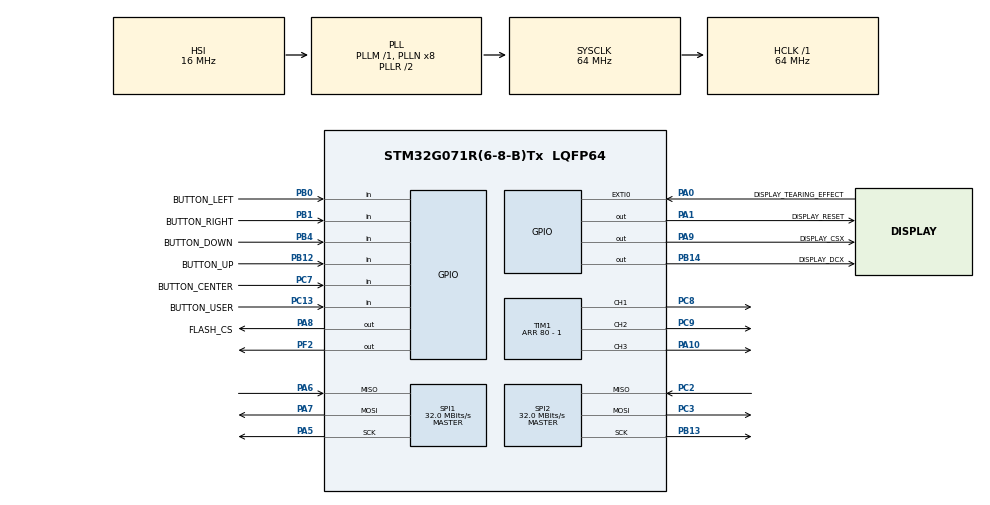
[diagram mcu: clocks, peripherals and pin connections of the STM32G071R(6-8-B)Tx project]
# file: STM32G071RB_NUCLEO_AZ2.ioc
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CRC.DefaultInitValueUse=DEFAULT_INIT_VALUE_ENABLE
CRC.DefaultPolynomialUse=DEFAULT_POLYNOMIAL_ENABLE
CRC.InputDataFormat=CRC_INPUTDATA_FORMAT_BYTES
CRC.InputDataInversionMode=CRC_INPUTDATA_INVERSION_NONE
CRC.OutputDataInversionMode=CRC_OUTPUTDATA_INVERSION_DISABLE
Dma.Request0=SPI1_TX
Dma.Request1=SPI2_RX
Dma.Request2=SPI2_TX
Dma.Request3=TIM1_CH3
Dma.Request4=TIM1_CH1
Dma.Request5=TIM1_CH2
Dma.SPI1_TX.0.Direction=DMA_MEMORY_TO_PERIPH
Dma.SPI1_TX.0.EventEnable=DISABLE
Dma.SPI1_TX.0.Instance=DMA1_Channel1
Dma.SPI1_TX.0.MemDataAlignment=DMA_MDATAALIGN_HALFWORD
Dma.SPI1_TX.0.MemInc=DMA_MINC_ENABLE
Dma.SPI1_TX.0.Mode=DMA_NORMAL
Dma.SPI1_TX.0.PeriphDataAlignment=DMA_PDATAALIGN_HALFWORD
Dma.SPI1_TX.0.PeriphInc=DMA_PINC_DISABLE
Dma.SPI1_TX.0.Polarity=HAL_DMAMUX_REQ_GEN_RISING
Dma.SPI1_TX.0.Priority=DMA_PRIORITY_LOW
Dma.SPI1_TX.0.RequestNumber=1
Dma.SPI1_TX.0.SignalID=NONE
Dma.SPI1_TX.0.SyncEnable=DISABLE
Dma.SPI1_TX.0.SyncPolarity=HAL_DMAMUX_SYNC_NO_EVENT
Dma.SPI1_TX.0.SyncRequestNumber=1
Dma.SPI1_TX.0.SyncSignalID=NONE
Dma.SPI2_RX.1.Direction=DMA_PERIPH_TO_MEMORY
Dma.SPI2_RX.1.EventEnable=DISABLE
Dma.SPI2_RX.1.Instance=DMA1_Channel2
Dma.SPI2_RX.1.MemDataAlignment=DMA_MDATAALIGN_BYTE
Dma.SPI2_RX.1.MemInc=DMA_MINC_ENABLE
Dma.SPI2_RX.1.Mode=DMA_NORMAL
Dma.SPI2_RX.1.PeriphDataAlignment=DMA_PDATAALIGN_BYTE
Dma.SPI2_RX.1.PeriphInc=DMA_PINC_DISABLE
Dma.SPI2_RX.1.Polarity=HAL_DMAMUX_REQ_GEN_RISING
Dma.SPI2_RX.1.Priority=DMA_PRIORITY_LOW
Dma.SPI2_RX.1.RequestNumber=1
Dma.SPI2_RX.1.SignalID=NONE
Dma.SPI2_RX.1.SyncEnable=DISABLE
Dma.SPI2_RX.1.SyncPolarity=HAL_DMAMUX_SYNC_NO_EVENT
Dma.SPI2_RX.1.SyncRequestNumber=1
Dma.SPI2_RX.1.SyncSignalID=NONE
Dma.SPI2_TX.2.Direction=DMA_MEMORY_TO_PERIPH
Dma.SPI2_TX.2.EventEnable=DISABLE
Dma.SPI2_TX.2.Instance=DMA1_Channel3
Dma.SPI2_TX.2.MemDataAlignment=DMA_MDATAALIGN_BYTE
Dma.SPI2_TX.2.MemInc=DMA_MINC_ENABLE
Dma.SPI2_TX.2.Mode=DMA_NORMAL
Dma.SPI2_TX.2.PeriphDataAlignment=DMA_PDATAALIGN_BYTE
Dma.SPI2_TX.2.PeriphInc=DMA_PINC_DISABLE
Dma.SPI2_TX.2.Polarity=HAL_DMAMUX_REQ_GEN_RISING
Dma.SPI2_TX.2.Priority=DMA_PRIORITY_LOW
Dma.SPI2_TX.2.RequestNumber=1
Dma.SPI2_TX.2.SignalID=NONE
Dma.SPI2_TX.2.SyncEnable=DISABLE
Dma.SPI2_TX.2.SyncPolarity=HAL_DMAMUX_SYNC_NO_EVENT
Dma.SPI2_TX.2.SyncRequestNumber=1
Dma.SPI2_TX.2.SyncSignalID=NONE
Dma.TIM1_CH1.4.Direction=DMA_MEMORY_TO_PERIPH
Dma.TIM1_CH1.4.EventEnable=DISABLE
Dma.TIM1_CH1.4.Instance=DMA1_Channel5
Dma.TIM1_CH1.4.MemDataAlignment=DMA_MDATAALIGN_HALFWORD
Dma.TIM1_CH1.4.MemInc=DMA_MINC_ENABLE
Dma.TIM1_CH1.4.Mode=DMA_NORMAL
Dma.TIM1_CH1.4.PeriphDataAlignment=DMA_PDATAALIGN_HALFWORD
Dma.TIM1_CH1.4.PeriphInc=DMA_PINC_DISABLE
Dma.TIM1_CH1.4.Polarity=HAL_DMAMUX_REQ_GEN_RISING
Dma.TIM1_CH1.4.Priority=DMA_PRIORITY_LOW
Dma.TIM1_CH1.4.RequestNumber=1
Dma.TIM1_CH1.4.SignalID=NONE
Dma.TIM1_CH1.4.SyncEnable=DISABLE
Dma.TIM1_CH1.4.SyncPolarity=HAL_DMAMUX_SYNC_NO_EVENT
Dma.TIM1_CH1.4.SyncRequestNumber=1
Dma.TIM1_CH1.4.SyncSignalID=NONE
Dma.TIM1_CH2.5.Direction=DMA_MEMORY_TO_PERIPH
Dma.TIM1_CH2.5.EventEnable=DISABLE
Dma.TIM1_CH2.5.Instance=DMA1_Channel6
Dma.TIM1_CH2.5.MemDataAlignment=DMA_MDATAALIGN_HALFWORD
Dma.TIM1_CH2.5.MemInc=DMA_MINC_ENABLE
Dma.TIM1_CH2.5.Mode=DMA_NORMAL
Dma.TIM1_CH2.5.PeriphDataAlignment=DMA_PDATAALIGN_HALFWORD
Dma.TIM1_CH2.5.PeriphInc=DMA_PINC_DISABLE
Dma.TIM1_CH2.5.Polarity=HAL_DMAMUX_REQ_GEN_RISING
Dma.TIM1_CH2.5.Priority=DMA_PRIORITY_LOW
Dma.TIM1_CH2.5.RequestNumber=1
Dma.TIM1_CH2.5.SignalID=NONE
Dma.TIM1_CH2.5.SyncEnable=DISABLE
Dma.TIM1_CH2.5.SyncPolarity=HAL_DMAMUX_SYNC_NO_EVENT
Dma.TIM1_CH2.5.SyncRequestNumber=1
Dma.TIM1_CH2.5.SyncSignalID=NONE
Dma.TIM1_CH3.3.Direction=DMA_MEMORY_TO_PERIPH
Dma.TIM1_CH3.3.EventEnable=DISABLE
Dma.TIM1_CH3.3.Instance=DMA1_Channel4
Dma.TIM1_CH3.3.MemDataAlignment=DMA_MDATAALIGN_HALFWORD
Dma.TIM1_CH3.3.MemInc=DMA_MINC_ENABLE
Dma.TIM1_CH3.3.Mode=DMA_NORMAL
Dma.TIM1_CH3.3.PeriphDataAlignment=DMA_PDATAALIGN_HALFWORD
Dma.TIM1_CH3.3.PeriphInc=DMA_PINC_DISABLE
Dma.TIM1_CH3.3.Polarity=HAL_DMAMUX_REQ_GEN_RISING
Dma.TIM1_CH3.3.Priority=DMA_PRIORITY_LOW
Dma.TIM1_CH3.3.RequestNumber=1
Dma.TIM1_CH3.3.SignalID=NONE
Dma.TIM1_CH3.3.SyncEnable=DISABLE
Dma.TIM1_CH3.3.SyncPolarity=HAL_DMAMUX_SYNC_NO_EVENT
Dma.TIM1_CH3.3.SyncRequestNumber=1
Dma.TIM1_CH3.3.SyncSignalID=NONE
Mcu.Family=STM32G0
Mcu.Name=STM32G071R(6-8-B)Tx
Mcu.Package=LQFP64
NVIC.DMA1_Ch4_7_DMAMUX1_OVR_IRQn=true\:0\:0\:false\:false\:true\:false\:true\:true
NVIC.DMA1_Channel1_IRQn=true\:0\:0\:false\:false\:true\:false\:false\:true
NVIC.DMA1_Channel2_3_IRQn=true\:0\:0\:false\:false\:true\:false\:false\:true
NVIC.EXTI0_1_IRQn=true\:0\:0\:false\:false\:true\:true\:true\:true
NVIC.SPI1_IRQn=true\:0\:0\:false\:false\:true\:true\:true\:true
NVIC.SPI2_IRQn=true\:0\:0\:false\:false\:true\:true\:true\:true
NVIC.TIM6_DAC_LPTIM1_IRQn=true\:0\:0\:false\:false\:true\:true\:true\:true
NVIC.TIM7_LPTIM2_IRQn=true\:0\:0\:false\:false\:true\:true\:true\:true
PA0.GPIO_Label=DISPLAY_TEARING_EFFECT
PA0.GPIO_ModeDefaultEXTI=GPIO_MODE_IT_RISING_FALLING
PA0.Signal=GPXTI0
PA1.GPIO_Label=DISPLAY_RESET
PA1.GPIO_PuPd=GPIO_NOPULL
PA1.GPIO_Speed=GPIO_SPEED_FREQ_HIGH
PA1.Signal=GPIO_Output
PA10.Signal=S_TIM1_CH3
PA13.Mode=Serial_Wire
PA13.Signal=SYS_SWDIO
PA14-BOOT0.Mode=Serial_Wire
PA14-BOOT0.Signal=SYS_SWCLK
PA5.GPIO_PuPd=GPIO_PULLDOWN
PA5.GPIO_Speed=GPIO_SPEED_FREQ_HIGH
PA5.Mode=Full_Duplex_Master
PA5.Signal=SPI1_SCK
PA6.GPIO_PuPd=GPIO_PULLDOWN
PA6.Mode=Full_Duplex_Master
PA6.Signal=SPI1_MISO
PA7.GPIO_PuPd=GPIO_PULLDOWN
PA7.GPIO_Speed=GPIO_SPEED_FREQ_HIGH
PA7.Mode=Full_Duplex_Master
PA7.Signal=SPI1_MOSI
PA8.GPIO_Label=FLASH_CS
PA8.GPIO_Speed=GPIO_SPEED_FREQ_VERY_HIGH
PA8.PinState=GPIO_PIN_SET
PA8.Signal=GPIO_Output
PA9.GPIO_Label=DISPLAY_CSX
PA9.GPIO_Speed=GPIO_SPEED_FREQ_VERY_HIGH
PA9.PinState=GPIO_PIN_SET
PA9.Signal=GPIO_Output
PB0.GPIO_Label=BUTTON_LEFT
PB0.GPIO_PuPd=GPIO_PULLUP
PB0.Signal=GPIO_Input
PB1.GPIO_Label=BUTTON_RIGHT
PB1.GPIO_PuPd=GPIO_PULLUP
PB1.Signal=GPIO_Input
PB12.GPIO_Label=BUTTON_UP
PB12.GPIO_PuPd=GPIO_PULLUP
PB12.Signal=GPIO_Input
PB13.GPIO_PuPd=GPIO_PULLDOWN
PB13.GPIO_Speed=GPIO_SPEED_FREQ_HIGH
PB13.Mode=Full_Duplex_Master
PB13.Signal=SPI2_SCK
PB14.GPIO_Label=DISPLAY_DCX
PB14.GPIO_Speed=GPIO_SPEED_FREQ_VERY_HIGH
PB14.PinState=GPIO_PIN_SET
PB14.Signal=GPIO_Output
PB4.GPIO_Label=BUTTON_DOWN
PB4.GPIO_PuPd=GPIO_PULLUP
PB4.Signal=GPIO_Input
PC13.GPIO_Label=BUTTON_USER
PC13.GPIO_PuPd=GPIO_PULLUP
PC13.Signal=GPIO_Input
PC2.GPIO_PuPd=GPIO_PULLDOWN
PC2.GPIO_Speed=GPIO_SPEED_FREQ_HIGH
PC2.Mode=Full_Duplex_Master
PC2.Signal=SPI2_MISO
PC3.GPIO_PuPd=GPIO_PULLDOWN
PC3.GPIO_Speed=GPIO_SPEED_FREQ_HIGH
PC3.Mode=Full_Duplex_Master
PC3.Signal=SPI2_MOSI
PC7.GPIO_Label=BUTTON_CENTER
PC7.GPIO_PuPd=GPIO_PULLUP
PC7.Signal=GPIO_Input
PC8.Signal=S_TIM1_CH1
PC9.Signal=S_TIM1_CH2
PF2\ -\ NRST.Signal=GPIO_Output
ProjectManager.HeapSize=0x200
ProjectManager.StackSize=0x800
ProjectManager.TargetToolchain=STM32CubeIDE
RCC.ADCFreq_Value=64000000
RCC.AHBFreq_Value=64000000
RCC.CortexFreq_Value=64000000
RCC.EXTERNAL_CLOCK_VALUE=48000
RCC.FLatency=FLASH_LATENCY_2
RCC.HCLKFreq_Value=64000000
RCC.HSE_VALUE=8000000
RCC.HSI_VALUE=16000000
RCC.LSE_VALUE=32768
RCC.PLLQ=RCC_PLLQ_DIV4
RCC.SYSCLKFreq_VALUE=64000000
RCC.SYSCLKSource=RCC_SYSCLKSOURCE_PLLCLK
RCC.VCOOutputFreq_Value=128000000
SH.S_TIM1_CH1.0=TIM1_CH1,PWM Generation1 CH1
SH.S_TIM1_CH2.0=TIM1_CH2,PWM Generation2 CH2
SH.S_TIM1_CH3.0=TIM1_CH3,PWM Generation3 CH3
SPI1.BaudRatePrescaler=SPI_BAUDRATEPRESCALER_2
SPI1.CLKPhase=SPI_PHASE_1EDGE
SPI1.CLKPolarity=SPI_POLARITY_LOW
SPI1.CRCCalculation=SPI_CRCCALCULATION_DISABLE
SPI1.CalculateBaudRate=32.0 MBits/s
SPI1.DataSize=SPI_DATASIZE_8BIT
SPI1.Direction=SPI_DIRECTION_2LINES
SPI1.FirstBit=SPI_FIRSTBIT_MSB
SPI1.Mode=SPI_MODE_MASTER
SPI1.NSS=SPI_NSS_SOFT
SPI1.NSSPMode=SPI_NSS_PULSE_DISABLE
SPI1.TIMode=SPI_TIMODE_DISABLE
SPI1.VirtualType=VM_MASTER
SPI2.BaudRatePrescaler=SPI_BAUDRATEPRESCALER_2
SPI2.CLKPhase=SPI_PHASE_1EDGE
SPI2.CLKPolarity=SPI_POLARITY_LOW
SPI2.CalculateBaudRate=32.0 MBits/s
SPI2.DataSize=SPI_DATASIZE_8BIT
SPI2.Direction=SPI_DIRECTION_2LINES
SPI2.Mode=SPI_MODE_MASTER
SPI2.NSSPMode=SPI_NSS_PULSE_DISABLE
SPI2.VirtualType=VM_MASTER
STMicroelectronics.X-CUBE-TOUCHGFX.4.24.2.ApplicationCcGraphicsJjApplication=TouchGFXOoGenerator
STMicroelectronics.X-CUBE-TOUCHGFX.4.24.2.tgfx_buffering_strategy=Partial
STMicroelectronics.X-CUBE-TOUCHGFX.4.24.2.tgfx_custom_height=320
STMicroelectronics.X-CUBE-TOUCHGFX.4.24.2.tgfx_custom_width=240
STMicroelectronics.X-CUBE-TOUCHGFX.4.24.2.tgfx_datareader=Enabled
STMicroelectronics.X-CUBE-TOUCHGFX.4.24.2.tgfx_partial_fb_stay_behind_beam=Enabled
STMicroelectronics.X-CUBE-TOUCHGFX.4.24.2.tgfx_partialfb_transmit_strategy=Enabled
STMicroelectronics.X-CUBE-TOUCHGFX.4.24.2.tgfx_serial_flash=Enabled
TIM1.Channel-PWM\ Generation1\ CH1=TIM_CHANNEL_1
TIM1.Channel-PWM\ Generation2\ CH2=TIM_CHANNEL_2
TIM1.Channel-PWM\ Generation3\ CH3=TIM_CHANNEL_3
TIM1.Period=80 - 1
TIM6.AutoReloadPreload=TIM_AUTORELOAD_PRELOAD_DISABLE
TIM6.Period=0xFFFF
TIM6.Prescaler=3077
TIM6.TIM_MasterOutputTrigger=TIM_TRGO_ENABLE
TIM7.Period=64000
VP_CRC_VS_CRC.Mode=CRC_Activate
VP_STMicroelectronics.X-CUBE-TOUCHGFX_VS_GraphicsJjApplication_4.24.2.Mode=GraphicsJjApplication
VP_SYS_VS_DBSignals.Mode=DisableDeadBatterySignals
VP_TIM1_VS_ClockSourceINT.Mode=Internal
VP_TIM6_VS_ClockSourceINT.Mode=Enable_Timer
VP_TIM7_VS_ClockSourceINT.Mode=Enable_Timer
board=NUCLEO-G071RB

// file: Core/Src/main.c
/* USER CODE BEGIN Header */
/**
  ******************************************************************************
  * @file           : main.c
  * @brief          : Main program body
  ******************************************************************************
  * @attention
  *
  * Copyright (c) 2023 STMicroelectronics.
  * All rights reserved.
  *
  * This software is licensed under terms that can be found in the LICENSE file
  * in the root directory of this software component.
  * If no LICENSE file comes with this software, it is provided AS-IS.
  *
  ******************************************************************************
  */
/* USER CODE END Header */
#include "main.h"
#include "app_touchgfx.h"

/* USER CODE BEGIN Includes */
#include "clovece_nezlob_se.h"
#include  "ws2812b.h"
#include "milis.h"
/* USER CODE END Includes */

CRC_HandleTypeDef hcrc;

SPI_HandleTypeDef hspi1;
SPI_HandleTypeDef hspi2;
DMA_HandleTypeDef hdma_spi1_tx;
DMA_HandleTypeDef hdma_spi2_rx;
DMA_HandleTypeDef hdma_spi2_tx;

TIM_HandleTypeDef htim1;
TIM_HandleTypeDef htim6;
TIM_HandleTypeDef htim7;
DMA_HandleTypeDef hdma_tim1_ch3;
DMA_HandleTypeDef hdma_tim1_ch1;
DMA_HandleTypeDef hdma_tim1_ch2;

void SystemClock_Config(void);
static void MX_GPIO_Init(void);
static void MX_DMA_Init(void);
static void MX_SPI1_Init(void);
static void MX_CRC_Init(void);
static void MX_SPI2_Init(void);
static void MX_TIM6_Init(void);
static void MX_TIM1_Init(void);
static void MX_TIM7_Init(void);

/* USER CODE BEGIN 0 */
GameInfo game_info = {.game_stage =  INITIALIZATION};

void set_player_color(void);
/* USER CODE END 0 */

int main(void)
{

  /* MCU Configuration--------------------------------------------------------*/

  /* Reset of all peripherals, Initializes the Flash interface and the Systick. */
  HAL_Init();

  /* Configure the system clock */
  SystemClock_Config();

  /* Initialize all configured peripherals */
  MX_GPIO_Init();
  MX_DMA_Init();
  MX_SPI1_Init();
  MX_CRC_Init();
  MX_SPI2_Init();
  MX_TIM6_Init();
  MX_TIM1_Init();
  MX_TIM7_Init();
  MX_TouchGFX_Init();
  /* USER CODE BEGIN 2 */
  HAL_TIM_Base_Start_IT(&htim7);	// Enables interrupts for TIM7
  init_brightness();				// Calculates scale_factors
  set_player_color(); 				// Needed for settings animation
  /* USER CODE END 2 */

  /* Infinite loop */
  /* USER CODE BEGIN WHILE */
  while (1)
  {
	  /*
	   * Game initialization
	   */
	  if(game_info.game_stage == INITIALIZATION){
		  handle_initialization();
	  }
	  /*
	   * Game is in progress
	   */
	  else if(game_info.game_stage == IN_PROGRESS){
		  handle_in_progress();
	  }
	  /*
	   * Game has ended
	   */
	  else if(game_info.game_stage == FINISH){
		  handle_finish();
	  }
    /* USER CODE END WHILE */

  MX_TouchGFX_Process();
  }
}

void SystemClock_Config(void)
{
  RCC_OscInitTypeDef RCC_OscInitStruct = {0};
  RCC_ClkInitTypeDef RCC_ClkInitStruct = {0};

  /** Configure the main internal regulator output voltage
  */
  HAL_PWREx_ControlVoltageScaling(PWR_REGULATOR_VOLTAGE_SCALE1);

  /** Initializes the RCC Oscillators according to the specified parameters
  * in the RCC_OscInitTypeDef structure.
  */
  RCC_OscInitStruct.OscillatorType = RCC_OSCILLATORTYPE_HSI;
  RCC_OscInitStruct.HSIState = RCC_HSI_ON;
  RCC_OscInitStruct.HSIDiv = RCC_HSI_DIV1;
  RCC_OscInitStruct.HSICalibrationValue = RCC_HSICALIBRATION_DEFAULT;
  RCC_OscInitStruct.PLL.PLLState = RCC_PLL_ON;
  RCC_OscInitStruct.PLL.PLLSource = RCC_PLLSOURCE_HSI;
  RCC_OscInitStruct.PLL.PLLM = RCC_PLLM_DIV1;
  RCC_OscInitStruct.PLL.PLLN = 8;
  RCC_OscInitStruct.PLL.PLLP = RCC_PLLP_DIV2;
  RCC_OscInitStruct.PLL.PLLQ = RCC_PLLQ_DIV4;
  RCC_OscInitStruct.PLL.PLLR = RCC_PLLR_DIV2;
  if (HAL_RCC_OscConfig(&RCC_OscInitStruct) != HAL_OK)
  {
    Error_Handler();
  }

  /** Initializes the CPU, AHB and APB buses clocks
  */
  RCC_ClkInitStruct.ClockType = RCC_CLOCKTYPE_HCLK|RCC_CLOCKTYPE_SYSCLK
                              |RCC_CLOCKTYPE_PCLK1;
  RCC_ClkInitStruct.SYSCLKSource = RCC_SYSCLKSOURCE_PLLCLK;
  RCC_ClkInitStruct.AHBCLKDivider = RCC_SYSCLK_DIV1;
  RCC_ClkInitStruct.APB1CLKDivider = RCC_HCLK_DIV1;

  if (HAL_RCC_ClockConfig(&RCC_ClkInitStruct, FLASH_LATENCY_2) != HAL_OK)
  {
    Error_Handler();
  }
}

static void MX_CRC_Init(void)
{

  hcrc.Instance = CRC;
  hcrc.Init.DefaultPolynomialUse = DEFAULT_POLYNOMIAL_ENABLE;
  hcrc.Init.DefaultInitValueUse = DEFAULT_INIT_VALUE_ENABLE;
  hcrc.Init.InputDataInversionMode = CRC_INPUTDATA_INVERSION_NONE;
  hcrc.Init.OutputDataInversionMode = CRC_OUTPUTDATA_INVERSION_DISABLE;
  hcrc.InputDataFormat = CRC_INPUTDATA_FORMAT_BYTES;
  if (HAL_CRC_Init(&hcrc) != HAL_OK)
  {
    Error_Handler();
  }

}

static void MX_SPI1_Init(void)
{

  /* SPI1 parameter configuration*/
  hspi1.Instance = SPI1;
  hspi1.Init.Mode = SPI_MODE_MASTER;
  hspi1.Init.Direction = SPI_DIRECTION_2LINES;
  hspi1.Init.DataSize = SPI_DATASIZE_8BIT;
  hspi1.Init.CLKPolarity = SPI_POLARITY_LOW;
  hspi1.Init.CLKPhase = SPI_PHASE_1EDGE;
  hspi1.Init.NSS = SPI_NSS_SOFT;
  hspi1.Init.BaudRatePrescaler = SPI_BAUDRATEPRESCALER_2;
  hspi1.Init.FirstBit = SPI_FIRSTBIT_MSB;
  hspi1.Init.TIMode = SPI_TIMODE_DISABLE;
  hspi1.Init.CRCCalculation = SPI_CRCCALCULATION_DISABLE;
  hspi1.Init.CRCPolynomial = 7;
  hspi1.Init.CRCLength = SPI_CRC_LENGTH_DATASIZE;
  hspi1.Init.NSSPMode = SPI_NSS_PULSE_DISABLE;
  if (HAL_SPI_Init(&hspi1) != HAL_OK)
  {
    Error_Handler();
  }

}

static void MX_SPI2_Init(void)
{

  /* SPI2 parameter configuration*/
  hspi2.Instance = SPI2;
  hspi2.Init.Mode = SPI_MODE_MASTER;
  hspi2.Init.Direction = SPI_DIRECTION_2LINES;
  hspi2.Init.DataSize = SPI_DATASIZE_8BIT;
  hspi2.Init.CLKPolarity = SPI_POLARITY_LOW;
  hspi2.Init.CLKPhase = SPI_PHASE_1EDGE;
  hspi2.Init.NSS = SPI_NSS_SOFT;
  hspi2.Init.BaudRatePrescaler = SPI_BAUDRATEPRESCALER_2;
  hspi2.Init.FirstBit = SPI_FIRSTBIT_MSB;
  hspi2.Init.TIMode = SPI_TIMODE_DISABLE;
  hspi2.Init.CRCCalculation = SPI_CRCCALCULATION_DISABLE;
  hspi2.Init.CRCPolynomial = 7;
  hspi2.Init.CRCLength = SPI_CRC_LENGTH_DATASIZE;
  hspi2.Init.NSSPMode = SPI_NSS_PULSE_DISABLE;
  if (HAL_SPI_Init(&hspi2) != HAL_OK)
  {
    Error_Handler();
  }

}

static void MX_TIM1_Init(void)
{

  TIM_ClockConfigTypeDef sClockSourceConfig = {0};
  TIM_MasterConfigTypeDef sMasterConfig = {0};
  TIM_OC_InitTypeDef sConfigOC = {0};
  TIM_BreakDeadTimeConfigTypeDef sBreakDeadTimeConfig = {0};

  htim1.Instance = TIM1;
  htim1.Init.Prescaler = 0;
  htim1.Init.CounterMode = TIM_COUNTERMODE_UP;
  htim1.Init.Period = 80 - 1;
  htim1.Init.ClockDivision = TIM_CLOCKDIVISION_DIV1;
  htim1.Init.RepetitionCounter = 0;
  htim1.Init.AutoReloadPreload = TIM_AUTORELOAD_PRELOAD_DISABLE;
  if (HAL_TIM_Base_Init(&htim1) != HAL_OK)
  {
    Error_Handler();
  }
  sClockSourceConfig.ClockSource = TIM_CLOCKSOURCE_INTERNAL;
  if (HAL_TIM_ConfigClockSource(&htim1, &sClockSourceConfig) != HAL_OK)
  {
    Error_Handler();
  }
  if (HAL_TIM_PWM_Init(&htim1) != HAL_OK)
  {
    Error_Handler();
  }
  sMasterConfig.MasterOutputTrigger = TIM_TRGO_RESET;
  sMasterConfig.MasterOutputTrigger2 = TIM_TRGO2_RESET;
  sMasterConfig.MasterSlaveMode = TIM_MASTERSLAVEMODE_DISABLE;
  if (HAL_TIMEx_MasterConfigSynchronization(&htim1, &sMasterConfig) != HAL_OK)
  {
    Error_Handler();
  }
  sConfigOC.OCMode = TIM_OCMODE_PWM1;
  sConfigOC.Pulse = 0;
  sConfigOC.OCPolarity = TIM_OCPOLARITY_HIGH;
  sConfigOC.OCNPolarity = TIM_OCNPOLARITY_HIGH;
  sConfigOC.OCFastMode = TIM_OCFAST_DISABLE;
  sConfigOC.OCIdleState = TIM_OCIDLESTATE_RESET;
  sConfigOC.OCNIdleState = TIM_OCNIDLESTATE_RESET;
  if (HAL_TIM_PWM_ConfigChannel(&htim1, &sConfigOC, TIM_CHANNEL_1) != HAL_OK)
  {
    Error_Handler();
  }
  if (HAL_TIM_PWM_ConfigChannel(&htim1, &sConfigOC, TIM_CHANNEL_2) != HAL_OK)
  {
    Error_Handler();
  }
  if (HAL_TIM_PWM_ConfigChannel(&htim1, &sConfigOC, TIM_CHANNEL_3) != HAL_OK)
  {
    Error_Handler();
  }
  sBreakDeadTimeConfig.OffStateRunMode = TIM_OSSR_DISABLE;
  sBreakDeadTimeConfig.OffStateIDLEMode = TIM_OSSI_DISABLE;
  sBreakDeadTimeConfig.LockLevel = TIM_LOCKLEVEL_OFF;
  sBreakDeadTimeConfig.DeadTime = 0;
  sBreakDeadTimeConfig.BreakState = TIM_BREAK_DISABLE;
  sBreakDeadTimeConfig.BreakPolarity = TIM_BREAKPOLARITY_HIGH;
  sBreakDeadTimeConfig.BreakFilter = 0;
  sBreakDeadTimeConfig.BreakAFMode = TIM_BREAK_AFMODE_INPUT;
  sBreakDeadTimeConfig.Break2State = TIM_BREAK2_DISABLE;
  sBreakDeadTimeConfig.Break2Polarity = TIM_BREAK2POLARITY_HIGH;
  sBreakDeadTimeConfig.Break2Filter = 0;
  sBreakDeadTimeConfig.Break2AFMode = TIM_BREAK_AFMODE_INPUT;
  sBreakDeadTimeConfig.AutomaticOutput = TIM_AUTOMATICOUTPUT_DISABLE;
  if (HAL_TIMEx_ConfigBreakDeadTime(&htim1, &sBreakDeadTimeConfig) != HAL_OK)
  {
    Error_Handler();
  }
  HAL_TIM_MspPostInit(&htim1);

}

static void MX_TIM6_Init(void)
{

  TIM_MasterConfigTypeDef sMasterConfig = {0};

  htim6.Instance = TIM6;
  htim6.Init.Prescaler = 3077;
  htim6.Init.CounterMode = TIM_COUNTERMODE_UP;
  htim6.Init.Period = 0xFFFF;
  htim6.Init.AutoReloadPreload = TIM_AUTORELOAD_PRELOAD_DISABLE;
  if (HAL_TIM_Base_Init(&htim6) != HAL_OK)
  {
    Error_Handler();
  }
  sMasterConfig.MasterOutputTrigger = TIM_TRGO_ENABLE;
  sMasterConfig.MasterSlaveMode = TIM_MASTERSLAVEMODE_DISABLE;
  if (HAL_TIMEx_MasterConfigSynchronization(&htim6, &sMasterConfig) != HAL_OK)
  {
    Error_Handler();
  }

}

static void MX_TIM7_Init(void)
{

  TIM_MasterConfigTypeDef sMasterConfig = {0};

  htim7.Instance = TIM7;
  htim7.Init.Prescaler = 0;
  htim7.Init.CounterMode = TIM_COUNTERMODE_UP;
  htim7.Init.Period = 64000;
  htim7.Init.AutoReloadPreload = TIM_AUTORELOAD_PRELOAD_DISABLE;
  if (HAL_TIM_Base_Init(&htim7) != HAL_OK)
  {
    Error_Handler();
  }
  sMasterConfig.MasterOutputTrigger = TIM_TRGO_RESET;
  sMasterConfig.MasterSlaveMode = TIM_MASTERSLAVEMODE_DISABLE;
  if (HAL_TIMEx_MasterConfigSynchronization(&htim7, &sMasterConfig) != HAL_OK)
  {
    Error_Handler();
  }

}

static void MX_DMA_Init(void)
{

  /* DMA controller clock enable */
  __HAL_RCC_DMA1_CLK_ENABLE();

  /* DMA interrupt init */
  /* DMA1_Channel1_IRQn interrupt configuration */
  HAL_NVIC_SetPriority(DMA1_Channel1_IRQn, 0, 0);
  HAL_NVIC_EnableIRQ(DMA1_Channel1_IRQn);
  /* DMA1_Channel2_3_IRQn interrupt configuration */
  HAL_NVIC_SetPriority(DMA1_Channel2_3_IRQn, 0, 0);
  HAL_NVIC_EnableIRQ(DMA1_Channel2_3_IRQn);
  /* DMA1_Ch4_7_DMAMUX1_OVR_IRQn interrupt configuration */
  HAL_NVIC_SetPriority(DMA1_Ch4_7_DMAMUX1_OVR_IRQn, 0, 0);
  HAL_NVIC_EnableIRQ(DMA1_Ch4_7_DMAMUX1_OVR_IRQn);

}

static void MX_GPIO_Init(void)
{
  GPIO_InitTypeDef GPIO_InitStruct = {0};

  /* GPIO Ports Clock Enable */
  __HAL_RCC_GPIOC_CLK_ENABLE();
  __HAL_RCC_GPIOF_CLK_ENABLE();
  __HAL_RCC_GPIOA_CLK_ENABLE();
  __HAL_RCC_GPIOB_CLK_ENABLE();

  /*Configure GPIO pin Output Level */
  HAL_GPIO_WritePin(GPIOF, GPIO_PIN_2, GPIO_PIN_RESET);

  /*Configure GPIO pin Output Level */
  HAL_GPIO_WritePin(DISPLAY_RESET_GPIO_Port, DISPLAY_RESET_Pin, GPIO_PIN_RESET);

  /*Configure GPIO pin Output Level */
  HAL_GPIO_WritePin(DISPLAY_DCX_GPIO_Port, DISPLAY_DCX_Pin, GPIO_PIN_SET);

  /*Configure GPIO pin Output Level */
  HAL_GPIO_WritePin(GPIOA, FLASH_CS_Pin|DISPLAY_CSX_Pin, GPIO_PIN_SET);

  /*Configure GPIO pins : BUTTON_USER_Pin BUTTON_CENTER_Pin */
  GPIO_InitStruct.Pin = BUTTON_USER_Pin|BUTTON_CENTER_Pin;
  GPIO_InitStruct.Mode = GPIO_MODE_INPUT;
  GPIO_InitStruct.Pull = GPIO_PULLUP;
  HAL_GPIO_Init(GPIOC, &GPIO_InitStruct);

  /*Configure GPIO pin : PF2 */
  GPIO_InitStruct.Pin = GPIO_PIN_2;
  GPIO_InitStruct.Mode = GPIO_MODE_OUTPUT_PP;
  GPIO_InitStruct.Pull = GPIO_NOPULL;
  GPIO_InitStruct.Speed = GPIO_SPEED_FREQ_LOW;
  HAL_GPIO_Init(GPIOF, &GPIO_InitStruct);

  /*Configure GPIO pin : DISPLAY_TEARING_EFFECT_Pin */
  GPIO_InitStruct.Pin = DISPLAY_TEARING_EFFECT_Pin;
  GPIO_InitStruct.Mode = GPIO_MODE_IT_RISING_FALLING;
  GPIO_InitStruct.Pull = GPIO_NOPULL;
  HAL_GPIO_Init(DISPLAY_TEARING_EFFECT_GPIO_Port, &GPIO_InitStruct);

  /*Configure GPIO pin : DISPLAY_RESET_Pin */
  GPIO_InitStruct.Pin = DISPLAY_RESET_Pin;
  GPIO_InitStruct.Mode = GPIO_MODE_OUTPUT_PP;
  GPIO_InitStruct.Pull = GPIO_NOPULL;
  GPIO_InitStruct.Speed = GPIO_SPEED_FREQ_HIGH;
  HAL_GPIO_Init(DISPLAY_RESET_GPIO_Port, &GPIO_InitStruct);

  /*Configure GPIO pins : BUTTON_LEFT_Pin BUTTON_RIGHT_Pin BUTTON_UP_Pin BUTTON_DOWN_Pin */
  GPIO_InitStruct.Pin = BUTTON_LEFT_Pin|BUTTON_RIGHT_Pin|BUTTON_UP_Pin|BUTTON_DOWN_Pin;
  GPIO_InitStruct.Mode = GPIO_MODE_INPUT;
  GPIO_InitStruct.Pull = GPIO_PULLUP;
  HAL_GPIO_Init(GPIOB, &GPIO_InitStruct);

  /*Configure GPIO pin : DISPLAY_DCX_Pin */
  GPIO_InitStruct.Pin = DISPLAY_DCX_Pin;
  GPIO_InitStruct.Mode = GPIO_MODE_OUTPUT_PP;
  GPIO_InitStruct.Pull = GPIO_NOPULL;
  GPIO_InitStruct.Speed = GPIO_SPEED_FREQ_VERY_HIGH;
  HAL_GPIO_Init(DISPLAY_DCX_GPIO_Port, &GPIO_InitStruct);

  /*Configure GPIO pins : FLASH_CS_Pin DISPLAY_CSX_Pin */
  GPIO_InitStruct.Pin = FLASH_CS_Pin|DISPLAY_CSX_Pin;
  GPIO_InitStruct.Mode = GPIO_MODE_OUTPUT_PP;
  GPIO_InitStruct.Pull = GPIO_NOPULL;
  GPIO_InitStruct.Speed = GPIO_SPEED_FREQ_VERY_HIGH;
  HAL_GPIO_Init(GPIOA, &GPIO_InitStruct);

  /* EXTI interrupt init*/
  HAL_NVIC_SetPriority(EXTI0_1_IRQn, 0, 0);
  HAL_NVIC_EnableIRQ(EXTI0_1_IRQn);

}

/* USER CODE BEGIN 4 */

void settings_animation(void){
	delay(SETTINGS_ANIMATION_DELAY);
	delay(SETTINGS_ANIMATION_START_DELAY);
	delay(SETTINGS_ANIMATION_END_DELAY);
}

void init_game(uint8_t num_of_players){
	// Reset TIM7 values when a game begins
	last_toggle_time = 0;
	last_toggle = 0;
	last_toggle_end = 0;
	miliseconds = 0;
	last_toggle_overlap = 0;

	// Reset game stats values
	game_info.number_of_rolls = 0;
	game_info.number_of_set_pawns = 0;
	game_info.number_of_kicked_pawns = 0;

	init_brightness();
	game_info.number_of_players = num_of_players;
	init_board(num_of_players);

	game_info.current_player = 1;

	game_info.game_stage = IN_PROGRESS;
}

void handle_initialization(void){
	settings_animation();

	game_info.current_event = MENU;
}

void handle_in_progress(void){
	sync_info();	// Syncs up the selected pawn of the current player

	if(game_info.current_event == SELECT_PAWN){
		selected_pawn_animation(game_info.current_player);
	}

	if(game_info.current_event == PAWN_SELECTED){		// Executes when the selected_pawn is confirmed - once per player turn

		move_pawn(game_info.current_player, game_info.rolled_number);		// Also checks for kicks, finish, init

		game_info.current_event = ROLL_DICE;

		// If the player has already finished skip the player and check for player out of bounds
		while(select_player(game_info.current_player)->pawns_in_finish == 4){
			game_info.current_player++;
			game_info.current_player = game_info.current_player > game_info.number_of_players ? 1 : game_info.current_player;

			if(select_player(game_info.current_player)->pawns_in_finish != 4){
				game_info.selected_pawn = 0;
				return;
			}
		}

		// If the player rolled a 6 the player can play again
		if(game_info.rolled_number != 6){
			game_info.current_player++;
			game_info.current_player = game_info.current_player > game_info.number_of_players ? 1 : game_info.current_player;	// Checks if the turn has ended

			while(select_player(game_info.current_player)->pawns_in_finish == 4){
				game_info.current_player++;
				game_info.current_player = game_info.current_player > game_info.number_of_players ? 1 : game_info.current_player;
			}
		}
		game_info.selected_pawn = 0; // Probably useless
	}
}

void handle_finish(void){
	game_info.current_event = FINISH_GAME;
}

void set_player_color(void){
	Player* player_struct = select_player(1);

	player_struct->color[0] = 255;
	player_struct->color[1] = 0;
	player_struct->color[2] = 0;

	player_struct = select_player(2);

	player_struct->color[0] = 0;
	player_struct->color[1] = 0;
	player_struct->color[2] = 255;

	player_struct = select_player(3);

	player_struct->color[0] = 255;
	player_struct->color[1] = 255;
	player_struct->color[2] = 0;

	player_struct = select_player(4);

	player_struct->color[0] = 0;
	player_struct->color[1] = 255;
	player_struct->color[2] = 0;
}

/* USER CODE END 4 */

void Error_Handler(void)
{
  __disable_irq();
  while (1)
  {
  }
}
